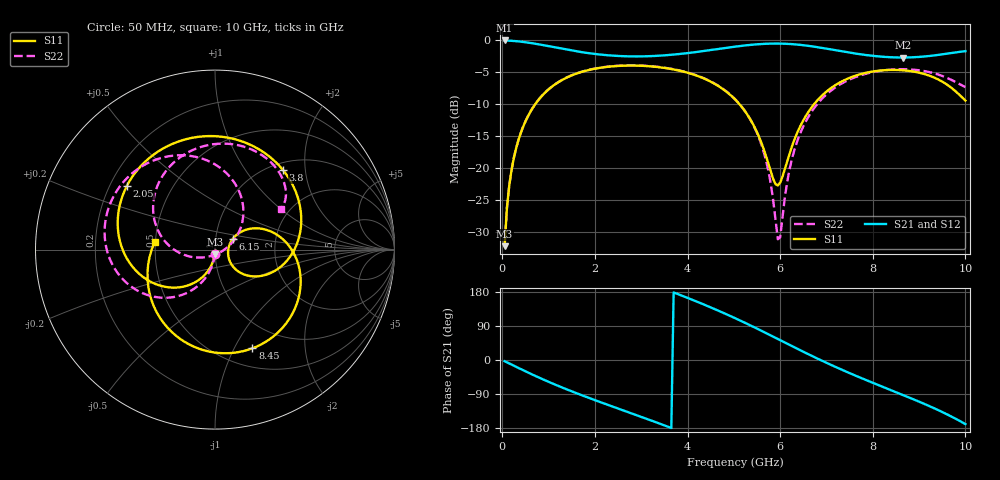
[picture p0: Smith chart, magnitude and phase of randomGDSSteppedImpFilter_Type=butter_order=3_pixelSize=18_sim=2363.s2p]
! freq	dB(S11)	phase(S11)	dB(S12)	phase(S12)
!  dB(S21)	phase(S21)	dB(S22)	phase(S22)
!S-par simulation data
#  GHz  S  DB  R 50
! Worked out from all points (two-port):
!   200 points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, 50 MHz to 10 GHz, reference 50 ohm
!   highest |S21| = -0.01 dB at 50 MHz (marker M1); lowest = -2.7 dB at 8.65 GHz (marker M2)
!   |S21| within 3 dB of the highest: start of sweep to end of sweep
!   lowest |S11| = -32.2 dB at 50 MHz (marker M3), VSWR 1.05, Z = 49.8 - j2.45 ohm
!   |S11| at or under -10 dB: start of sweep to 709 MHz; 5.125 GHz to 6.73 GHz (1.605 GHz wide, 27.1 % of centre)
!   |S22| runs from -32.2 to -3.9 dB; largest |S21 - S12| = 0
!   S11 on the Smith chart (normalised r, x): 50 MHz: 1.00, -0.05; 2.05 GHz: 0.27, +0.30; 3.8 GHz: 1.14, +1.52; 6.15 GHz: 1.21, +0.14; 8.45 GHz: 0.70, -1.18; 10 GHz: 0.50, +0.05
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0.05  -32.17 -93.5  -0.01 -3.1  -0.01 -3.1  -32.16 -92.7
0.1  -26.17 -97.1  -0.02 -6.1  -0.02 -6.1  -26.16 -95.5
0.2  -20.24 -104.1  -0.06 -12.2  -0.06 -12.2  -20.23 -100.9
0.5  -12.66 -124.3  -0.28 -29.9  -0.28 -29.9  -12.65 -116.4
1.1  -7.08 -162.2  -1.04 -62.8  -1.04 -62.8  -7.05 -144.6
1.75  -4.84 160.6  -1.87 -94.5  -1.87 -94.5  -4.82 -170.7
2.05  -4.36 144.2  -2.16 -108.2  -2.16 -108.2  -4.33 178.3
2.75  -3.93 106.8  -2.50 -139.1  -2.50 -139.1  -3.90 154.2
3.4  -4.20 71.6  -2.38 -168.0  -2.38 -168.0  -4.17 132.1
3.8  -4.69 49.4  -2.14 173.5  -2.14 173.5  -4.65 117.9
4.4  -6.10 14.9  -1.61 144.0  -1.61 144.0  -6.06 94.9
5.05  -9.40 -22.4  -0.95 109.1  -0.95 109.1  -9.36 65.7
5.65  -17.11 -43.4  -0.54 73.8  -0.54 73.8  -17.56 29.5
5.95  -22.68 -2.7  -0.49 55.5  -0.49 55.5  -31.08 -46.4
6.15  -18.91 30.7  -0.53 43.2  -0.53 43.2  -22.20 -146.0
6.7  -10.27 21.1  -0.94 9.9  -0.94 9.9  -10.92 170.3
7.5  -5.85 -20.6  -1.91 -34.7  -1.91 -34.7  -6.11 127.8
8.35  -4.62 -64.1  -2.62 -77.5  -2.62 -77.5  -4.59 88.7
8.45  -4.61 -69.2  -2.65 -82.4  -2.65 -82.4  -4.54 84.3
8.65  -4.67 -79.6  -2.67 -92.2  -2.67 -92.2  -4.50 75.7
9.3  -5.73 -118.1  -2.37 -125.9  -2.37 -125.9  -5.09 49.4
10  -9.41 172.7  -1.68 -169.1  -1.68 -169.1  -7.31 32.0
